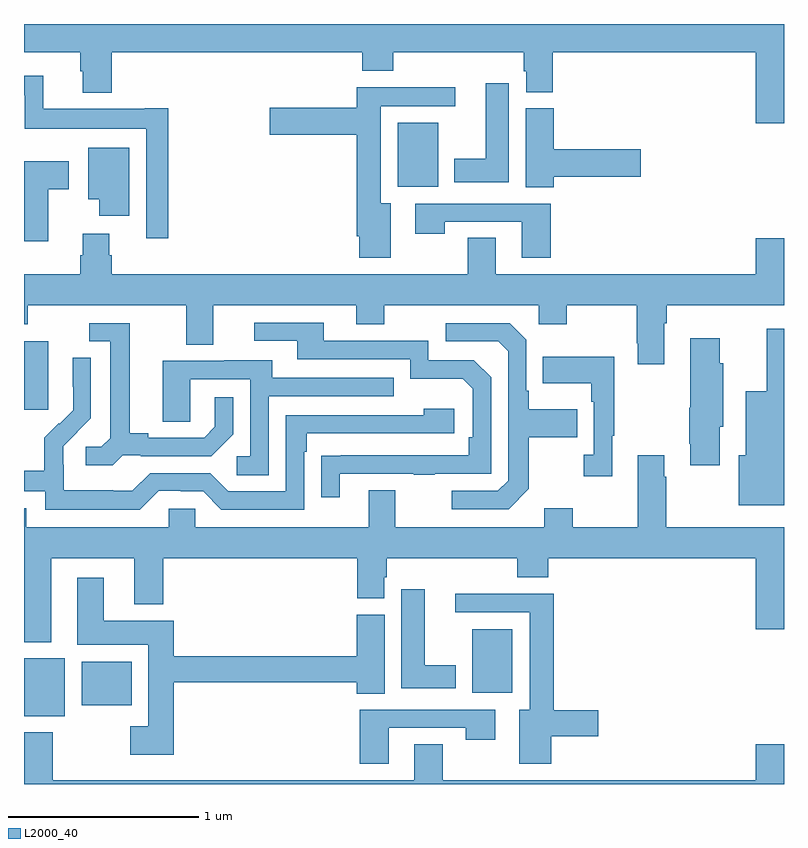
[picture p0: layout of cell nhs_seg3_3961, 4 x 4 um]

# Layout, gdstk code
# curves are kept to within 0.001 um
import gdstk
lib = gdstk.Library(unit=1e-6, precision=1e-09)
def R(c, l, rs):  # rectangles x0, y0, x1, y1
    for r in rs: c.add(gdstk.rectangle(r[:2], r[2:], *l))
def P(c, l, *ps):  # polygons
    for p in ps: c.add(gdstk.Polygon(p, *l))
L2000_40 = (2000, 40)

nhs_seg3_3961 = lib.new_cell('nhs_seg3_3961')
R(nhs_seg3_3961, L2000_40, [(317,694.757,317.215,695.062), (317.303,694.814,317.566,695.044), (319.358,694.88,319.57,695.215), (317,696.369,317.128,696.73), (318.968,697.544,319.18,697.879)])
P(nhs_seg3_3961, L2000_40, [(321,698.4),(317,698.4),(317,698.252),(317.297,698.252),(317.297,698.151),(317.309,698.151),(317.309,698.039),(317.462,698.039),(317.462,698.252),(318.779,698.252),(318.779,698.153),(318.944,698.153),(318.944,698.252),(319.631,698.252),(319.631,698.151),(319.643,698.151),(319.643,698.041),(319.784,698.041),(319.784,698.252),(320.852,698.252),(320.852,697.878),(321,697.878)],
  [(317.759,697.957),(317.636,697.957),(317.636,697.954),(317.102,697.954),(317.102,698.128),(317,698.128),(317,698.024),(317.004,698.024),(317.004,697.85),(317.643,697.85),(317.643,697.272),(317.759,697.272)],
  [(319.552,698.089),(319.43,698.089),(319.43,697.69),(319.265,697.69),(319.265,697.568),(319.552,697.568)],
  [(318.931,697.456),(318.877,697.456),(318.877,697.968),(319.27,697.968),(319.27,698.066),(318.752,698.066),(318.752,697.959),(318.294,697.959),(318.294,697.817),(318.752,697.817),(318.752,697.282),(318.764,697.282),(318.764,697.17),(318.931,697.17)],
  [(319.787,697.595),(320.245,697.595),(320.245,697.742),(319.787,697.742),(319.787,697.956),(319.64,697.956),(319.64,697.54),(319.787,697.54)],
  [(317.554,697.75),(317.339,697.75),(317.339,697.478),(317.396,697.478),(317.396,697.392),(317.554,697.392)],
  [(317.128,697.531),(317.236,697.531),(317.236,697.678),(317,697.678),(317,697.256),(317.128,697.256)],
  [(319.772,697.455),(319.059,697.455),(319.059,697.296),(319.215,697.296),(319.215,697.359),(319.619,697.359),(319.619,697.17),(319.772,697.17)],
  [(320.371,696.824),(320.384,696.824),(320.384,696.92),(321,696.92),(321,697.273),(320.852,697.273),(320.852,697.084),(319.483,697.084),(319.483,697.274),(319.336,697.274),(319.336,697.084),(317.462,697.084),(317.462,697.182),(317.449,697.182),(317.449,697.297),(317.309,697.297),(317.309,697.182),(317.297,697.182),(317.297,697.084),(317,697.084),(317,696.821),(317.019,696.821),(317.019,696.92),(317.855,696.92),(317.855,696.712),(317.995,696.712),(317.995,696.92),(318.749,696.92),(318.749,696.821),(318.897,696.821),(318.897,696.92),(319.71,696.92),(319.71,696.821),(319.857,696.821),(319.857,696.92),(320.224,696.92),(320.224,696.721),(320.231,696.721),(320.231,696.609),(320.371,696.609)],
  [(318.661,696.033),(319.051,696.033),(319.051,696.028),(319.163,696.028),(319.163,696.033),(319.458,696.033),(319.458,696.54),(319.368,696.63),(319.128,696.63),(319.128,696.732),(318.577,696.732),(318.577,696.828),(318.213,696.828),(318.213,696.732),(318.437,696.732),(318.437,696.636),(319.032,696.636),(319.032,696.533),(319.309,696.533),(319.362,696.48),(319.362,696.226),(319.342,696.226),(319.342,696.129),(318.565,696.128),(318.565,695.91),(318.661,695.91)],
  [(317.52,696.129),(317.614,696.129),(317.614,696.126),(317.986,696.126),(318.102,696.242),(318.102,696.436),(318.005,696.436),(318.005,696.279),(317.948,696.222),(317.653,696.222),(317.653,696.245),(317.557,696.245),(317.557,696.825),(317.343,696.825),(317.343,696.729),(317.453,696.729),(317.453,696.221),(317.406,696.174),(317.325,696.174),(317.325,696.077),(317.468,696.077)],
  [(319.657,695.953),(319.657,696.226),(319.913,696.226),(319.913,696.373),(319.657,696.373),(319.657,696.469),(319.644,696.469),(319.644,696.738),(319.557,696.825),(319.221,696.825),(319.221,696.729),(319.497,696.729),(319.548,696.678),(319.548,695.997),(319.494,695.943),(319.251,695.943),(319.251,695.847),(319.551,695.847)],
  [(321,696.796),(320.909,696.796),(320.909,696.466),(320.798,696.466),(320.798,696.13),(320.762,696.13),(320.762,695.867),(321,695.867)],
  [(320.662,696.279),(320.68,696.279),(320.68,696.615),(320.662,696.615),(320.662,696.745),(320.507,696.745),(320.507,696.379),(320.5,696.379),(320.5,696.19),(320.507,696.19),(320.507,696.078),(320.662,696.078)],
  [(320.095,696.233),(320.107,696.233),(320.107,696.649),(319.729,696.649),(319.729,696.509),(319.986,696.509),(319.986,696.413),(319.998,696.413),(319.998,696.134),(319.947,696.134),(319.947,696.021),(320.095,696.021)],
  [(317.709,695.943),(317.825,695.943),(317.825,695.94),(317.943,695.94),(318.039,695.844),(318.474,695.844),(318.474,696.149),(318.487,696.149),(318.487,696.246),(319.264,696.246),(319.264,696.376),(319.103,696.376),(319.103,696.342),(318.378,696.342),(318.378,695.94),(318.075,695.94),(317.979,696.036),(317.664,696.036),(317.571,695.943),(317.471,695.943),(317.471,695.947),(317.208,695.947),(317.208,696.081),(317.206,696.081),(317.206,696.178),(317.352,696.326),(317.352,696.644),(317.256,696.644),(317.256,696.49),(317.258,696.49),(317.258,696.368),(317.187,696.297),(317.184,696.3),(317.107,696.223),(317.107,696.049),(317,696.049),(317,695.94),(317.112,695.94),(317.112,695.843),(317.609,695.843)],
  [(318.288,696.441),(318.947,696.441),(318.947,696.537),(318.307,696.537),(318.307,696.631),(318.053,696.631),(318.053,696.627),(317.729,696.627),(317.729,696.307),(317.874,696.307),(317.874,696.531),(318.192,696.531),(318.192,696.126),(318.12,696.126),(318.12,696.025),(318.288,696.025)],
  [(317.143,695.588),(317.579,695.588),(317.579,695.345),(317.732,695.345),(317.732,695.588),(318.755,695.588),(318.755,695.377),(318.895,695.377),(318.895,695.487),(318.908,695.487),(318.908,695.588),(319.595,695.588),(319.595,695.489),(319.76,695.489),(319.76,695.588),(320.852,695.588),(320.852,695.214),(321,695.214),(321,695.752),(320.379,695.752),(320.379,696.017),(320.371,696.017),(320.371,696.13),(320.231,696.13),(320.231,695.752),(319.887,695.752),(319.887,695.851),(319.739,695.851),(319.739,695.752),(318.955,695.752),(318.955,695.947),(318.815,695.947),(318.815,695.752),(317.901,695.752),(317.901,695.85),(317.763,695.85),(317.763,695.752),(317.011,695.752),(317.011,695.851),(317,695.851),(317,695.147),(317.143,695.147)],
  [(317.789,694.936),(318.752,694.936),(318.752,694.876),(318.898,694.876),(318.898,695.292),(318.752,695.292),(318.752,695.072),(317.789,695.072),(317.789,695.26),(317.419,695.26),(317.419,695.485),(317.279,695.485),(317.279,695.132),(317.654,695.132),(317.654,694.705),(317.559,694.705),(317.559,694.553),(317.789,694.553)],
  [(319.273,695.026),(319.108,695.026),(319.108,695.425),(318.986,695.425),(318.986,694.904),(319.273,694.904)],
  [(319.774,694.652),(320.023,694.652),(320.023,694.787),(319.787,694.787),(319.787,695.402),(319.269,695.402),(319.269,695.304),(319.661,695.304),(319.661,694.792),(319.607,694.792),(319.607,694.506),(319.774,694.506)],
  [(318.919,694.695),(319.324,694.695),(319.324,694.632),(319.48,694.632),(319.48,694.791),(318.767,694.791),(318.767,694.506),(318.919,694.506)],
  [(321,694.609),(320.852,694.609),(320.852,694.42),(319.203,694.42),(319.203,694.61),(319.055,694.61),(319.055,694.42),(317.151,694.42),(317.151,694.672),(317,694.672),(317,694.4),(321,694.4)])

lib.write_gds('nhs_seg3_3961.gds')
